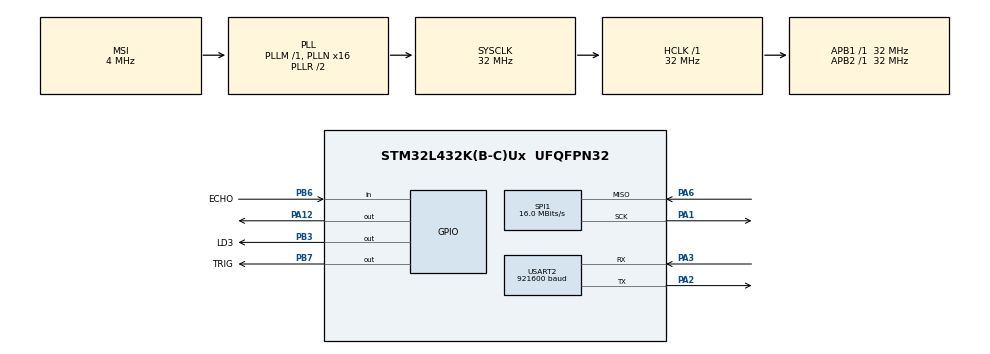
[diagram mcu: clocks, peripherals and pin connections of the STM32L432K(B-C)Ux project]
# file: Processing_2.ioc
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Mcu.Family=STM32L4
Mcu.Name=STM32L432K(B-C)Ux
Mcu.Package=UFQFPN32
NVIC.PriorityGroup=NVIC_PRIORITYGROUP_4
NVIC.TIM2_IRQn=true\:0\:0\:false\:false\:true\:true\:true\:true
PA1.Mode=RX_Only_Simplex_Unidirect_Master
PA1.Signal=SPI1_SCK
PA12.Signal=GPIO_Output
PA2.Mode=Asynchronous
PA2.Signal=USART2_TX
PA3.Mode=Asynchronous
PA3.Signal=USART2_RX
PA6.Mode=RX_Only_Simplex_Unidirect_Master
PA6.Signal=SPI1_MISO
PB3\ (JTDO-TRACESWO).GPIO_Label=LD3
PB3\ (JTDO-TRACESWO).Signal=GPIO_Output
PB6.GPIO_Label=ECHO
PB6.Signal=GPIO_Input
PB7.GPIO_Label=TRIG
PB7.Signal=GPIO_Output
PC14-OSC32_IN\ (PC14).Mode=LSE-External-Oscillator
PC14-OSC32_IN\ (PC14).Signal=RCC_OSC32_IN
PC15-OSC32_OUT\ (PC15).Mode=LSE-External-Oscillator
PC15-OSC32_OUT\ (PC15).Signal=RCC_OSC32_OUT
ProjectManager.HeapSize=0x200
ProjectManager.StackSize=0x400
ProjectManager.TargetToolchain=CMake
RCC.ADCFreq_Value=16000000
RCC.AHBFreq_Value=32000000
RCC.APB1Freq_Value=32000000
RCC.APB1TimFreq_Value=32000000
RCC.APB2Freq_Value=32000000
RCC.APB2TimFreq_Value=32000000
RCC.CortexFreq_Value=32000000
RCC.HCLKFreq_Value=32000000
RCC.HSE_VALUE=8000000
RCC.HSI48_VALUE=48000000
RCC.HSI_VALUE=16000000
RCC.MSI_VALUE=4000000
RCC.PLLN=16
RCC.SYSCLKFreq_VALUE=32000000
RCC.SYSCLKSource=RCC_SYSCLKSOURCE_PLLCLK
RCC.USBFreq_Value=16000000
RCC.VCOOutputFreq_Value=64000000
SPI1.BaudRatePrescaler=SPI_BAUDRATEPRESCALER_2
SPI1.CalculateBaudRate=16.0 MBits/s
SPI1.DataSize=SPI_DATASIZE_8BIT
SPI1.Direction=SPI_DIRECTION_2LINES_RXONLY
SPI1.Mode=SPI_MODE_MASTER
SPI1.NSSPMode=SPI_NSS_PULSE_DISABLE
SPI1.VirtualType=VM_MASTER
TIM16.Prescaler=31
TIM2.AutoReloadPreload=TIM_AUTORELOAD_PRELOAD_ENABLE
TIM2.Period=59
TIM2.Prescaler=31999
USART2.BaudRate=921600
USART2.VirtualMode-Asynchronous=VM_ASYNC
VP_TIM16_VS_ClockSourceINT.Mode=Enable_Timer
VP_TIM2_VS_ClockSourceINT.Mode=Internal
board=custom

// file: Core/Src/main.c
/* USER CODE BEGIN Header */
/**
  ******************************************************************************
  * @file           : main.c
  * @brief          : Main program body
  ******************************************************************************
  * @attention
  *
  * Copyright (c) 2026 STMicroelectronics.
  * All rights reserved.
  *
  * This software is licensed under terms that can be found in the LICENSE file
  * in the root directory of this software component.
  * If no LICENSE file comes with this software, it is provided AS-IS.
  *
  ******************************************************************************
  */
/* USER CODE END Header */
#include "main.h"

/* USER CODE BEGIN Includes */
#include <stdio.h>
#include <string.h>
#include <stdlib.h>
/* USER CODE END Includes */

SPI_HandleTypeDef hspi1;

TIM_HandleTypeDef htim2;
TIM_HandleTypeDef htim16;

UART_HandleTypeDef huart2;

/* USER CODE BEGIN PV */
/* Mode and recording state */
char mode = 0;
uint8_t is_recording = 0;
uint8_t prev_detected = 0;
uint8_t object_detected = 0;

/* Configurable trigger distance sent from Python e.g. "D10\n" → 10 */
uint16_t user_distance = 10;

/* Moving average filter state */
uint8_t prev_sample = 0;

/* Ultrasonic ISR flag — set by TIM2 ISR, read in main loop */
volatile uint8_t ultrasonic_trigger_flag = 0;

/* Newline-terminated command parsing */
#define RX_BUFFER_SIZE 10
char rx_buffer[RX_BUFFER_SIZE];
uint8_t rx_index = 0;

/* USER CODE END PV */

void SystemClock_Config(void);
static void MX_GPIO_Init(void);
static void MX_SPI1_Init(void);
static void MX_TIM2_Init(void);
static void MX_TIM16_Init(void);
static void MX_USART2_UART_Init(void);

/* USER CODE BEGIN 0 */
/* Microsecond delay using htim16 */
void delay_us(uint16_t us) {
    __HAL_TIM_SET_COUNTER(&htim16, 0);
    while (__HAL_TIM_GET_COUNTER(&htim16) < us);
}

/*
 * Parse a newline-terminated command from Python.
 * "M\n"    → manual mode
 * "D10\n"  → distance mode, trigger at 10cm
 * "S\n"    → stop
 */
void process_command(char *cmd)
{
    if (cmd[0] == 'M') {
        mode = 'M';
        is_recording = 0;
        prev_sample = 0;
        object_detected = 0;
        prev_detected = 0;

        /* Send ready byte so Python starts its recording timer */
        uint8_t ready = 'R';
        HAL_UART_Transmit(&huart2, &ready, 1, HAL_MAX_DELAY);

    } else if (cmd[0] == 'D') {
        mode = 'D';
        /* Parse distance value from command string e.g. "D10" → 10 */
        user_distance = (uint16_t)atoi(&cmd[1]);
        if (user_distance == 0) user_distance = 10;  // default if parse fails
        is_recording = 0;
        prev_sample = 0;
        object_detected = 0;
        prev_detected = 0;

    } else if (cmd[0] == 'S') {
        mode = 0;
        is_recording = 0;
        object_detected = 0;
        prev_detected = 0;
    }
}

/*
 * TIM2 period elapsed ISR — fires every ~60ms.
 * Sends the ultrasonic trigger pulse here (non-blocking),
 * then sets a flag for the main loop to measure the echo.
 * This separates trigger timing (ISR) from echo measurement (main loop).
 */
void HAL_TIM_PeriodElapsedCallback(TIM_HandleTypeDef *htim)
{
    if (htim->Instance == TIM2 && mode == 'D') {
        HAL_GPIO_WritePin(TRIG_GPIO_Port, TRIG_Pin, GPIO_PIN_SET);
        delay_us(10);
        HAL_GPIO_WritePin(TRIG_GPIO_Port, TRIG_Pin, GPIO_PIN_RESET);
        ultrasonic_trigger_flag = 1;
    }
}
/* USER CODE END 0 */

int main(void)
{

  /* MCU Configuration--------------------------------------------------------*/

  /* Reset of all peripherals, Initializes the Flash interface and the Systick. */
  HAL_Init();

  /* Configure the system clock */
  SystemClock_Config();

  /* Initialize all configured peripherals */
  MX_GPIO_Init();
  MX_SPI1_Init();
  MX_TIM2_Init();
  MX_TIM16_Init();
  MX_USART2_UART_Init();
  /* USER CODE BEGIN 2 */
 HAL_TIM_Base_Start(&htim16);
    HAL_TIM_Base_Start_IT(&htim2);  // TIM2 runs with interrupt for ultrasonic trigger

    /* Blink LED to signal ready */
    HAL_GPIO_TogglePin(LD3_GPIO_Port, LD3_Pin);
    HAL_Delay(500);
    HAL_GPIO_TogglePin(LD3_GPIO_Port, LD3_Pin);
  /* USER CODE END 2 */

  /* Infinite loop */
  /* USER CODE BEGIN WHILE */
  {
        /* --- 1. Non-blocking command receive from Python --- */
        uint8_t byte;
        if (HAL_UART_Receive(&huart2, &byte, 1, 0) == HAL_OK) {
            if (byte == '\n') {
                /* End of command — null terminate and process */
                rx_buffer[rx_index] = '\0';
                process_command(rx_buffer);
                rx_index = 0;
            } else {
                if (rx_index < RX_BUFFER_SIZE - 1) {
                    rx_buffer[rx_index++] = (char)byte;
                }
            }
        }

        /* --- 2. Echo measurement (triggered by TIM2 ISR flag) --- */
        if (ultrasonic_trigger_flag && mode == 'D') {
            ultrasonic_trigger_flag = 0;

            /* Wait for ECHO to go HIGH (with timeout) */
            uint32_t timeout = 100000;
            while (HAL_GPIO_ReadPin(ECHO_GPIO_Port, ECHO_Pin) == 0 && timeout--);

            if (timeout > 0) {
                /* Measure echo pulse width */
                __HAL_TIM_SET_COUNTER(&htim16, 0);
                timeout = 100000;
                while (HAL_GPIO_ReadPin(ECHO_GPIO_Port, ECHO_Pin) == 1 && timeout--);

                uint16_t duration = __HAL_TIM_GET_COUNTER(&htim16);
                float distance = (duration * 0.034f) / 2.0f;

                /* Schmitt trigger with ±2cm margin around user_distance */
                uint16_t margin = 2;
                uint16_t start_threshold = (user_distance > margin) ? user_distance - margin : 0;
                uint16_t stop_threshold  = user_distance + margin;

                prev_detected = object_detected;

                if (!object_detected && distance < start_threshold) {
                    object_detected = 1;
                    HAL_GPIO_WritePin(LD3_GPIO_Port, LD3_Pin, GPIO_PIN_SET);
                } else if (object_detected && distance > stop_threshold) {
                    object_detected = 0;
                    HAL_GPIO_WritePin(LD3_GPIO_Port, LD3_Pin, GPIO_PIN_RESET);
                }

                /* Object just left range — send 0xFF stop byte to Python */
                if (prev_detected == 1 && object_detected == 0) {
                    uint8_t stop_byte = 0xFF;
                    HAL_UART_Transmit(&huart2, &stop_byte, 1, HAL_MAX_DELAY);
                }

            } else {
                /* Timeout — nothing in range */
                prev_detected = object_detected;
                object_detected = 0;

                if (prev_detected == 1) {
                    uint8_t stop_byte = 0xFF;
                    HAL_UART_Transmit(&huart2, &stop_byte, 1, HAL_MAX_DELAY);
                    HAL_GPIO_WritePin(LD3_GPIO_Port, LD3_Pin, GPIO_PIN_RESET);
                }
            }
        }

        /* --- 3. Audio transfer --- */

        /*
         * Distance mode: stream audio via SPI while object is detected.
         * SPI with timeout=0 is non-blocking — returns immediately if no data,
         * so it never stalls the main loop the way UART polling did.
         */
        if (mode == 'D' && object_detected) {
            uint8_t data;
            if (HAL_SPI_Receive(&hspi1, &data, 1, 0) == HAL_OK) {
                uint8_t filtered = (data + prev_sample) / 2;
                if (filtered > 254) filtered = 254;     // Reserve 0xFF as stop byte
                HAL_UART_Transmit(&huart2, &filtered, 1, 0);
                prev_sample = data;
            }
        }

        /*
         * Manual mode: stream audio via SPI continuously.
         */
        else if (mode == 'M') {
            uint8_t data;
            if (HAL_SPI_Receive(&hspi1, &data, 1, 0) == HAL_OK) {
                uint8_t filtered = (data + prev_sample) / 2;
                if (filtered > 254) filtered = 254;     // Reserve 0xFF as stop byte
                HAL_UART_Transmit(&huart2, &filtered, 1, 0);
                prev_sample = data;
            }
        }
    /* USER CODE END WHILE */

  }
}

void SystemClock_Config(void)
{
  RCC_OscInitTypeDef RCC_OscInitStruct = {0};
  RCC_ClkInitTypeDef RCC_ClkInitStruct = {0};

  /** Configure the main internal regulator output voltage
  */
  if (HAL_PWREx_ControlVoltageScaling(PWR_REGULATOR_VOLTAGE_SCALE1) != HAL_OK)
  {
    Error_Handler();
  }

  /** Configure LSE Drive Capability
  */
  HAL_PWR_EnableBkUpAccess();
  __HAL_RCC_LSEDRIVE_CONFIG(RCC_LSEDRIVE_LOW);

  /** Initializes the RCC Oscillators according to the specified parameters
  * in the RCC_OscInitTypeDef structure.
  */
  RCC_OscInitStruct.OscillatorType = RCC_OSCILLATORTYPE_LSE|RCC_OSCILLATORTYPE_MSI;
  RCC_OscInitStruct.LSEState = RCC_LSE_ON;
  RCC_OscInitStruct.MSIState = RCC_MSI_ON;
  RCC_OscInitStruct.MSICalibrationValue = 0;
  RCC_OscInitStruct.MSIClockRange = RCC_MSIRANGE_6;
  RCC_OscInitStruct.PLL.PLLState = RCC_PLL_ON;
  RCC_OscInitStruct.PLL.PLLSource = RCC_PLLSOURCE_MSI;
  RCC_OscInitStruct.PLL.PLLM = 1;
  RCC_OscInitStruct.PLL.PLLN = 16;
  RCC_OscInitStruct.PLL.PLLP = RCC_PLLP_DIV7;
  RCC_OscInitStruct.PLL.PLLQ = RCC_PLLQ_DIV2;
  RCC_OscInitStruct.PLL.PLLR = RCC_PLLR_DIV2;
  if (HAL_RCC_OscConfig(&RCC_OscInitStruct) != HAL_OK)
  {
    Error_Handler();
  }

  /** Initializes the CPU, AHB and APB buses clocks
  */
  RCC_ClkInitStruct.ClockType = RCC_CLOCKTYPE_HCLK|RCC_CLOCKTYPE_SYSCLK
                              |RCC_CLOCKTYPE_PCLK1|RCC_CLOCKTYPE_PCLK2;
  RCC_ClkInitStruct.SYSCLKSource = RCC_SYSCLKSOURCE_PLLCLK;
  RCC_ClkInitStruct.AHBCLKDivider = RCC_SYSCLK_DIV1;
  RCC_ClkInitStruct.APB1CLKDivider = RCC_HCLK_DIV1;
  RCC_ClkInitStruct.APB2CLKDivider = RCC_HCLK_DIV1;

  if (HAL_RCC_ClockConfig(&RCC_ClkInitStruct, FLASH_LATENCY_1) != HAL_OK)
  {
    Error_Handler();
  }

  /** Enable MSI Auto calibration
  */
  HAL_RCCEx_EnableMSIPLLMode();
}

static void MX_SPI1_Init(void)
{

  /* SPI1 parameter configuration*/
  hspi1.Instance = SPI1;
  hspi1.Init.Mode = SPI_MODE_MASTER;
  hspi1.Init.Direction = SPI_DIRECTION_2LINES_RXONLY;
  hspi1.Init.DataSize = SPI_DATASIZE_8BIT;
  hspi1.Init.CLKPolarity = SPI_POLARITY_LOW;
  hspi1.Init.CLKPhase = SPI_PHASE_1EDGE;
  hspi1.Init.NSS = SPI_NSS_SOFT;
  hspi1.Init.BaudRatePrescaler = SPI_BAUDRATEPRESCALER_2;
  hspi1.Init.FirstBit = SPI_FIRSTBIT_MSB;
  hspi1.Init.TIMode = SPI_TIMODE_DISABLE;
  hspi1.Init.CRCCalculation = SPI_CRCCALCULATION_DISABLE;
  hspi1.Init.CRCPolynomial = 7;
  hspi1.Init.CRCLength = SPI_CRC_LENGTH_DATASIZE;
  hspi1.Init.NSSPMode = SPI_NSS_PULSE_DISABLE;
  if (HAL_SPI_Init(&hspi1) != HAL_OK)
  {
    Error_Handler();
  }

}

static void MX_TIM2_Init(void)
{

  TIM_ClockConfigTypeDef sClockSourceConfig = {0};
  TIM_MasterConfigTypeDef sMasterConfig = {0};

  htim2.Instance = TIM2;
  htim2.Init.Prescaler = 31999;
  htim2.Init.CounterMode = TIM_COUNTERMODE_UP;
  htim2.Init.Period = 59;
  htim2.Init.ClockDivision = TIM_CLOCKDIVISION_DIV1;
  htim2.Init.AutoReloadPreload = TIM_AUTORELOAD_PRELOAD_ENABLE;
  if (HAL_TIM_Base_Init(&htim2) != HAL_OK)
  {
    Error_Handler();
  }
  sClockSourceConfig.ClockSource = TIM_CLOCKSOURCE_INTERNAL;
  if (HAL_TIM_ConfigClockSource(&htim2, &sClockSourceConfig) != HAL_OK)
  {
    Error_Handler();
  }
  sMasterConfig.MasterOutputTrigger = TIM_TRGO_RESET;
  sMasterConfig.MasterSlaveMode = TIM_MASTERSLAVEMODE_DISABLE;
  if (HAL_TIMEx_MasterConfigSynchronization(&htim2, &sMasterConfig) != HAL_OK)
  {
    Error_Handler();
  }

}

static void MX_TIM16_Init(void)
{

  htim16.Instance = TIM16;
  htim16.Init.Prescaler = 31;
  htim16.Init.CounterMode = TIM_COUNTERMODE_UP;
  htim16.Init.Period = 65535;
  htim16.Init.ClockDivision = TIM_CLOCKDIVISION_DIV1;
  htim16.Init.RepetitionCounter = 0;
  htim16.Init.AutoReloadPreload = TIM_AUTORELOAD_PRELOAD_DISABLE;
  if (HAL_TIM_Base_Init(&htim16) != HAL_OK)
  {
    Error_Handler();
  }

}

static void MX_USART2_UART_Init(void)
{

  huart2.Instance = USART2;
  huart2.Init.BaudRate = 921600;
  huart2.Init.WordLength = UART_WORDLENGTH_8B;
  huart2.Init.StopBits = UART_STOPBITS_1;
  huart2.Init.Parity = UART_PARITY_NONE;
  huart2.Init.Mode = UART_MODE_TX_RX;
  huart2.Init.HwFlowCtl = UART_HWCONTROL_NONE;
  huart2.Init.OverSampling = UART_OVERSAMPLING_16;
  huart2.Init.OneBitSampling = UART_ONE_BIT_SAMPLE_DISABLE;
  huart2.AdvancedInit.AdvFeatureInit = UART_ADVFEATURE_NO_INIT;
  if (HAL_UART_Init(&huart2) != HAL_OK)
  {
    Error_Handler();
  }

}

static void MX_GPIO_Init(void)
{
  GPIO_InitTypeDef GPIO_InitStruct = {0};

  /* GPIO Ports Clock Enable */
  __HAL_RCC_GPIOC_CLK_ENABLE();
  __HAL_RCC_GPIOA_CLK_ENABLE();
  __HAL_RCC_GPIOB_CLK_ENABLE();

  /*Configure GPIO pin Output Level */
  HAL_GPIO_WritePin(GPIOA, GPIO_PIN_12, GPIO_PIN_RESET);

  /*Configure GPIO pin Output Level */
  HAL_GPIO_WritePin(GPIOB, LD3_Pin|TRIG_Pin, GPIO_PIN_RESET);

  /*Configure GPIO pin : PA12 */
  GPIO_InitStruct.Pin = GPIO_PIN_12;
  GPIO_InitStruct.Mode = GPIO_MODE_OUTPUT_PP;
  GPIO_InitStruct.Pull = GPIO_NOPULL;
  GPIO_InitStruct.Speed = GPIO_SPEED_FREQ_LOW;
  HAL_GPIO_Init(GPIOA, &GPIO_InitStruct);

  /*Configure GPIO pins : LD3_Pin TRIG_Pin */
  GPIO_InitStruct.Pin = LD3_Pin|TRIG_Pin;
  GPIO_InitStruct.Mode = GPIO_MODE_OUTPUT_PP;
  GPIO_InitStruct.Pull = GPIO_NOPULL;
  GPIO_InitStruct.Speed = GPIO_SPEED_FREQ_LOW;
  HAL_GPIO_Init(GPIOB, &GPIO_InitStruct);

  /*Configure GPIO pin : ECHO_Pin */
  GPIO_InitStruct.Pin = ECHO_Pin;
  GPIO_InitStruct.Mode = GPIO_MODE_INPUT;
  GPIO_InitStruct.Pull = GPIO_NOPULL;
  HAL_GPIO_Init(ECHO_GPIO_Port, &GPIO_InitStruct);

}

void Error_Handler(void)
{
  __disable_irq();
  while (1)
  {
  }
}
